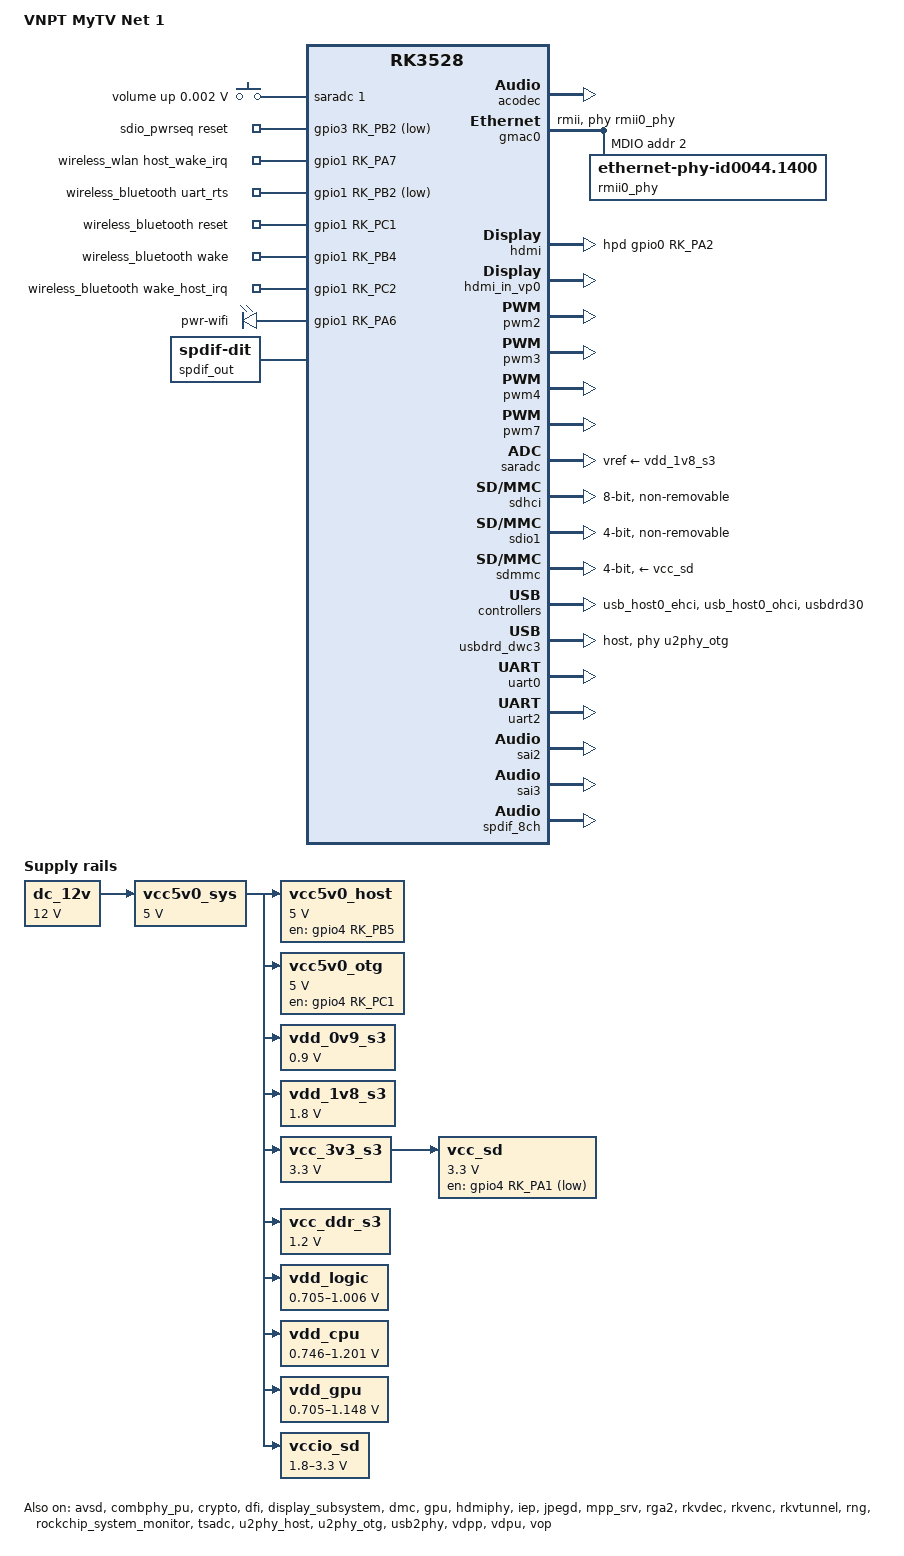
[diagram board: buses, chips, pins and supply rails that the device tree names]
// SPDX-License-Identifier: (GPL-2.0+ OR MIT)
/*
 * Copyright (c) 2026 Rockchip Electronics Co., Ltd.
 * Device Tree Source for VNPT MyTV Net 1 TV Box
 *
 * SoC:     Rockchip RK3528
 * RAM:     4GB
 */

/dts-v1/;

#include <dt-bindings/gpio/gpio.h>
#include <dt-bindings/input/rk-input.h>
#include <dt-bindings/interrupt-controller/irq.h>
#include <dt-bindings/pinctrl/rockchip.h>
#include <dt-bindings/phy/phy.h>
#include <dt-bindings/soc/rockchip,boot-mode.h>
#include <dt-bindings/soc/rockchip-system-status.h>
#include <dt-bindings/suspend/rockchip-rk3528.h>
#include <dt-bindings/thermal/thermal.h>
#include "rk3528.dtsi"

/ {
	model = "VNPT MyTV Net 1";
	compatible = "vnpt,mytv-net1", "rockchip,rk3528";

	aliases {
		ethernet0 = &gmac0;
		mmc0 = &sdmmc;
		mmc1 = &sdhci;
		mmc2 = &sdio1;
	};

	chosen: chosen {
		bootargs = "earlycon=uart8250,mmio32,0xff9f0000 console=ttyS0,1500000";
	};

	fiq_debugger: fiq-debugger {
		compatible = "rockchip,fiq-debugger";
		rockchip,serial-id = <0>;
		rockchip,wake-irq = <0>;
		rockchip,irq-mode-enable = <1>;
		rockchip,baudrate = <1500000>;
		interrupts = <GIC_SPI 186 IRQ_TYPE_LEVEL_HIGH>;
		pinctrl-names = "default";
		pinctrl-0 = <&uart0m0_xfer>;
		status = "disabled";
	};

	adc_keys: adc-keys {
		compatible = "adc-keys";
		io-channels = <&saradc 1>;
		io-channel-names = "buttons";
		keyup-threshold-microvolt = <1800000>;
		poll-interval = <100>;
		status = "okay";

		vol-up-key {
			label = "volume up";
			linux,code = <KEY_VOLUMEUP>;
			press-threshold-microvolt = <1750>;
		};
	};

	dc_12v: dc-12v {
		compatible = "regulator-fixed";
		regulator-name = "dc_12v";
		regulator-always-on;
		regulator-boot-on;
		regulator-min-microvolt = <12000000>;
		regulator-max-microvolt = <12000000>;
	};

	vcc5v0_sys: vcc5v0-sys {
		compatible = "regulator-fixed";
		regulator-name = "vcc5v0_sys";
		regulator-always-on;
		regulator-boot-on;
		regulator-min-microvolt = <5000000>;
		regulator-max-microvolt = <5000000>;
		vin-supply = <&dc_12v>;
	};

	vcc5v0_host: vcc5v0-host-regulator {
		compatible = "regulator-fixed";
		regulator-name = "vcc5v0_host";
		regulator-boot-on;
		regulator-always-on;
		regulator-min-microvolt = <5000000>;
		regulator-max-microvolt = <5000000>;
		enable-active-high;
		gpio = <&gpio4 RK_PB5 GPIO_ACTIVE_HIGH>;
		vin-supply = <&vcc5v0_sys>;
		pinctrl-names = "default";
		pinctrl-0 = <&vcc5v0_host_en>;
	};

	vcc5v0_otg: vcc5v0-otg-regulator {
		compatible = "regulator-fixed";
		regulator-name = "vcc5v0_otg";
		regulator-boot-on;
		regulator-always-on;
		regulator-min-microvolt = <5000000>;
		regulator-max-microvolt = <5000000>;
		enable-active-high;
		gpio = <&gpio4 RK_PC1 GPIO_ACTIVE_HIGH>;
		vin-supply = <&vcc5v0_sys>;
		pinctrl-names = "default";
		pinctrl-0 = <&vcc5v0_otg_en>;
	};

	vdd_0v9_s3: vdd-0v9-s3 {
		compatible = "regulator-fixed";
		regulator-name = "vdd_0v9_s3";
		regulator-always-on;
		regulator-boot-on;
		regulator-min-microvolt = <900000>;
		regulator-max-microvolt = <900000>;
		vin-supply = <&vcc5v0_sys>;
	};

	vdd_1v8_s3: vdd-1v8-s3 {
		compatible = "regulator-fixed";
		regulator-name = "vdd_1v8_s3";
		regulator-always-on;
		regulator-boot-on;
		regulator-min-microvolt = <1800000>;
		regulator-max-microvolt = <1800000>;
		vin-supply = <&vcc5v0_sys>;
	};

	vcc_3v3_s3: vcc-3v3-s3 {
		compatible = "regulator-fixed";
		regulator-name = "vcc_3v3_s3";
		regulator-always-on;
		regulator-boot-on;
		regulator-min-microvolt = <3300000>;
		regulator-max-microvolt = <3300000>;
		vin-supply = <&vcc5v0_sys>;
	};

	vcc_ddr_s3: vcc-ddr-s3 {
		compatible = "regulator-fixed";
		regulator-name = "vcc_ddr_s3";
		regulator-always-on;
		regulator-boot-on;
		regulator-min-microvolt = <1200000>;
		regulator-max-microvolt = <1200000>;
		vin-supply = <&vcc5v0_sys>;
	};

	vdd_logic: vdd-logic {
		compatible = "pwm-regulator";
		pwms = <&pwm2 0 5000 1>;
		regulator-name = "vdd_logic";
		regulator-min-microvolt = <705000>;
		regulator-max-microvolt = <1006000>;
		regulator-init-microvolt = <900000>;
		regulator-always-on;
		regulator-boot-on;
		regulator-settling-time-up-us = <250>;
		pwm-supply = <&vcc5v0_sys>;
		status = "okay";
	};

	vdd_cpu: vdd-cpu {
		compatible = "pwm-regulator";
		pwms = <&pwm7 0 5000 1>;
		regulator-name = "vdd_cpu";
		regulator-min-microvolt = <746000>;
		regulator-max-microvolt = <1201000>;
		regulator-init-microvolt = <953000>;
		regulator-always-on;
		regulator-boot-on;
		regulator-settling-time-up-us = <250>;
		pwm-supply = <&vcc5v0_sys>;
		status = "okay";
	};

	vdd_gpu: vdd-gpu {
		compatible = "pwm-regulator";
		pwms = <&pwm4 0 5000 1>;
		regulator-name = "vdd_gpu";
		regulator-min-microvolt = <705000>;
		regulator-max-microvolt = <1148000>;
		regulator-init-microvolt = <900000>;
		regulator-always-on;
		regulator-boot-on;
		regulator-settling-time-up-us = <250>;
		pwm-supply = <&vcc5v0_sys>;
		status = "okay";
	};

	vccio_sd: vccio-sd {
		compatible = "regulator-gpio";
		regulator-name = "vccio_sd";
		regulator-min-microvolt = <1800000>;
		regulator-max-microvolt = <3300000>;
		gpios = <&gpio4 RK_PB6 GPIO_ACTIVE_HIGH>;
		vin-supply = <&vcc5v0_sys>;
		states = <1800000 0x0
			  3300000 0x1>;
	};

	vcc_sd: vcc-sd {
		compatible = "regulator-fixed";
		regulator-name = "vcc_sd";
		regulator-boot-on;
		gpio = <&gpio4 RK_PA1 GPIO_ACTIVE_LOW>;
		regulator-min-microvolt = <3300000>;
		regulator-max-microvolt = <3300000>;
		vin-supply = <&vcc_3v3_s3>;
	};

	sdio_pwrseq: sdio-pwrseq {
		compatible = "mmc-pwrseq-simple";
		pinctrl-names = "default";
		pinctrl-0 = <&wifi_enable_h &wifi_32k>;
		reset-gpios = <&gpio3 RK_PB2 GPIO_ACTIVE_LOW>;
		post-power-on-delay-ms = <100>;
	};

	wireless_wlan: wireless-wlan {
		compatible = "wlan-platdata";
		rockchip,grf = <&grf>;
		wifi_chip_type = "ap6275s";
		pinctrl-names = "default";
		pinctrl-0 = <&wifi_host_wake_irq>;
		WIFI,host_wake_irq = <&gpio1 RK_PA7 GPIO_ACTIVE_HIGH>;
		status = "okay";
	};

	wireless_bluetooth: wireless-bluetooth {
		compatible = "bluetooth-platdata";
		uart_rts_gpios = <&gpio1 RK_PB2 GPIO_ACTIVE_LOW>;
		pinctrl-names = "default", "rts_gpio";
		pinctrl-0 = <&uart2m1_rtsn>;
		pinctrl-1 = <&uart2m1_gpios>;
		BT,reset_gpio = <&gpio1 RK_PC1 GPIO_ACTIVE_HIGH>;
		BT,wake_gpio = <&gpio1 RK_PB4 GPIO_ACTIVE_HIGH>;
		BT,wake_host_irq = <&gpio1 RK_PC2 GPIO_ACTIVE_HIGH>;
		status = "okay";
	};

	gpio_leds: gpio-leds {
		compatible = "gpio-leds";

		pwr-wifi {
			gpios = <&gpio1 RK_PA6 GPIO_ACTIVE_HIGH>;
			linux,default-trigger = "none";
			default-state = "on";
		};
	};

	hdmi_sound: hdmi-sound {
		compatible = "rockchip,hdmi";
		rockchip,mclk-fs = <128>;
		rockchip,card-name = "rockchip,hdmi";
		rockchip,cpu = <&sai3>;
		rockchip,codec = <&hdmi>;
		rockchip,jack-det;
		status = "okay";
	};

	acodec_sound: acodec-sound {
		status = "okay";
		compatible = "simple-audio-card";
		simple-audio-card,name = "rk3528-acodec";
		simple-audio-card,format = "i2s";
		simple-audio-card,mclk-fs = <256>;

		simple-audio-card,cpu {
			sound-dai = <&sai2>;
		};

		simple-audio-card,codec {
			sound-dai = <&acodec>;
		};
	};

	spdif_sound: spdif-sound {
		status = "okay";
		compatible = "simple-audio-card";
		simple-audio-card,name = "ROCKCHIP,SPDIF";
		simple-audio-card,mclk-fs = <128>;

		simple-audio-card,cpu {
			sound-dai = <&spdif_8ch>;
		};

		simple-audio-card,codec {
			sound-dai = <&spdif_out>;
		};
	};

	spdif_out: spdif-out {
		status = "okay";
		compatible = "linux,spdif-dit";
		#sound-dai-cells = <0>;
	};

	reserved_memory: reserved-memory {
		#address-cells = <2>;
		#size-cells = <2>;
		ranges;

		drm_logo: drm-logo@0 {
			compatible = "rockchip,drm-logo";
			reg = <0x0 0x0 0x0 0x0>;
		};

		drm_cubic_lut: drm-cubic-lut@0 {
			compatible = "rockchip,drm-cubic-lut";
			reg = <0x0 0x0 0x0 0x0>;
		};

		ramoops: ramoops@110000 {
			compatible = "ramoops";
			reg = <0x0 0x110000 0x0 0xe0000>;
			boot-log-size = <0x8000>;
			boot-log-count = <1>;
			console-size = <0x80000>;
			pmsg-size = <0x30000>;
			ftrace-size = <0x0>;
			record-size = <0x14000>;
		};
	};
};

&acodec {
	status = "okay";
	pa-ctl-gpios = <&gpio0 RK_PA0 GPIO_ACTIVE_HIGH>;
};

&avsd {
	status = "okay";
};

&combphy_pu {
	status = "okay";
};

&cpu0 {
	cpu-supply = <&vdd_cpu>;
};

&crypto {
	status = "okay";
};

&dfi {
	status = "okay";
};

&display_subsystem {
	status = "okay";
	memory-region = <&drm_logo>, <&drm_cubic_lut>;
	memory-region-names = "drm-logo", "drm-cubic-lut";

	route {
		route_hdmi: route-hdmi {
			status = "okay";
			logo,uboot = "logo.bmp";
			logo,kernel = "logo_kernel.bmp";
			logo,mode = "center";
			charge_logo,mode = "center";
			connect = <&vp0_out_hdmi>;
		};

		route_tve: route-tve {
			status = "okay";
			logo,uboot = "logo.bmp";
			logo,kernel = "logo_kernel.bmp";
			logo,mode = "center";
			charge_logo,mode = "center";
			connect = <&vp1_out_tve>;
		};
	};
};

&dmc {
	center-supply = <&vdd_logic>;
	status = "okay";
};

&gmac0 {
	phy-mode = "rmii";
	clock_in_out = "input";
	phy-handle = <&rmii0_phy>;
	status = "okay";

	mdio {
		compatible = "snps,dwmac-mdio";
		#address-cells = <1>;
		#size-cells = <0>;

		rmii0_phy: ethernet-phy@2 {
			compatible = "ethernet-phy-id0044.1400", "ethernet-phy-ieee802.3-c22";
			reg = <2>;
			phy-is-integrated;
		};
	};
};

&gmac1 {
	status = "disabled";
};

&gpu {
	mali-supply = <&vdd_gpu>;
	status = "okay";
};

&hdmi {
	status = "okay";
	hpd-gpios = <&gpio0 RK_PA2 GPIO_ACTIVE_HIGH>;
};

&hdmi_in_vp0 {
	status = "okay";
};

&hdmiphy {
	status = "okay";
};

&iep {
	status = "okay";
};

&iep_mmu {
	status = "okay";
};

&jpegd {
	status = "okay";
};

&jpegd_mmu {
	status = "okay";
};

&mpp_srv {
	status = "okay";
};

&pwm1 {
	status = "disabled";
};

&pwm2 {
	status = "okay";
	pinctrl-names = "active";
	pinctrl-0 = <&pwm2m0_pins>;
};

&pwm3 {
	compatible = "rockchip,remotectl-pwm";
	status = "okay";
	pinctrl-names = "default";
	pinctrl-0 = <&pwm3m0_pins>;
	remote_pwm_id = <3>;
	handle_cpu_id = <1>;
	remote_support_psci = <0>;
};

&pwm4 {
	status = "okay";
	pinctrl-names = "active";
	pinctrl-0 = <&pwm4m0_pins>;
};

&pwm7 {
	status = "okay";
	pinctrl-names = "active";
	pinctrl-0 = <&pwm7m0_pins>;
};

&rga2 {
	status = "okay";
};

&rga2_mmu {
	status = "okay";
};

&rkvdec {
	status = "okay";
};

&rkvdec_mmu {
	status = "okay";
};

&rkvenc {
	status = "okay";
};

&rkvenc_mmu {
	status = "okay";
};

&rkvtunnel {
	status = "okay";
};

&rng {
	status = "okay";
};

&rockchip_suspend {
	status = "okay";
	rockchip,sleep-debug-en = <1>;
	rockchip,virtual-poweroff = <1>;
	rockchip,sleep-mode-config = <
		(0
		| RKPM_SLP_ARMPD
		)
	>;
	rockchip,wakeup-config = <
		(0
		| RKPM_CPU0_WKUP_EN
		| RKPM_GPIO_WKUP_EN
		)
	>;
	rockchip,pwm-regulator-config = <
		(0
		| RKPM_PWM1_M0_REGULATOR_EN
		)
	>;
};

&rockchip_system_monitor {
	status = "okay";
	rockchip,thermal-zone = "soc-thermal";
};

&saradc {
	status = "okay";
	vref-supply = <&vdd_1v8_s3>;
};

&sdhci {
	bus-width = <8>;
	no-sd;
	no-sdio;
	non-removable;
	mmc-hs400-1_8v;
	mmc-hs400-enhanced-strobe;
	max-frequency = <200000000>;
	status = "okay";
	fixed-emmc-driver-type = <4>;
};

&sdio0 {
	status = "disabled";
};

&sdio1 {
	max-frequency = <200000000>;
	bus-width = <4>;
	cap-sd-highspeed;
	cap-sdio-irq;
	disable-wp;
	keep-power-in-suspend;
	mmc-pwrseq = <&sdio_pwrseq>;
	no-mmc;
	no-sd;
	non-removable;
	pinctrl-names = "default";
	pinctrl-0 = <&sdio1_bus4 &sdio1_clk &sdio1_cmd>;
	sd-uhs-sdr104;
	supports-sdio;
	status = "okay";
};

&sdmmc {
	bus-width = <4>;
	cap-mmc-highspeed;
	cap-sd-highspeed;
	disable-wp;
	max-frequency = <150000000>;
	pinctrl-names = "default";
	pinctrl-0 = <&sdmmc_clk &sdmmc_cmd &sdmmc_det &sdmmc_bus4>;
	rockchip,default-sample-phase = <90>;
	supports-sd;
	sd-uhs-sdr12;
	sd-uhs-sdr25;
	sd-uhs-sdr50;
	sd-uhs-sdr104;
	vqmmc-supply = <&vccio_sd>;
	vmmc-supply = <&vcc_sd>;
	status = "okay";
};

&tsadc {
	status = "okay";
};

&u2phy_host {
	phy-supply = <&vcc5v0_host>;
	status = "okay";
};

&u2phy_otg {
	phy-supply = <&vcc5v0_otg>;
	status = "okay";
};

&usb2phy {
	status = "okay";
};

&usb_host0_ehci {
	status = "okay";
};

&usb_host0_ohci {
	status = "okay";
};

&usbdrd30 {
	status = "okay";
};

&usbdrd_dwc3 {
	status = "okay";
	dr_mode = "host";
	phys = <&u2phy_otg>, <&combphy_pu PHY_TYPE_USB3>;
	phy-names = "usb2-phy", "usb3-phy";
	phy_type = "utmi_wide";
	snps,dis_enblslpm_quirk;
	snps,dis-u1u2-quirk;
	snps,dis-u3-susphy-quirk;
	snps,dis-u2-freeclk-exists-quirk;
	snps,dis-del-phy-power-chg-quirk;
	snps,dis-tx-ipgap-linecheck-quirk;
	snps,xhci-trb-ent-quirk;
	snps,dis_u2_susphy_quirk;
	snps,usb2-lpm-disable;
	maximum-speed = "super-speed";
};

&uart0 {
	status = "okay";
	pinctrl-names = "default";
	pinctrl-0 = <&uart0m0_xfer>;
};

&uart2 {
	status = "okay";
	pinctrl-names = "default";
	pinctrl-0 = <&uart2m1_xfer &uart2m1_ctsn>;
};

&vdpp {
	status = "okay";
};

&vdpu {
	status = "okay";
};

&vdpu_mmu {
	status = "okay";
};

&vop {
	status = "okay";
};

&vop_mmu {
	status = "okay";
};

&sai2 {
	status = "okay";
};

&sai3 {
	status = "okay";
};

&spdif_8ch {
	status = "okay";
	pinctrl-names = "default";
	pinctrl-0 = <&spdifm0_pins>;
};

&pinctrl {
	usb {
		vcc5v0_host_en: vcc5v0-host-en {
			rockchip,pins = <4 RK_PB5 RK_FUNC_GPIO &pcfg_pull_none>;
		};

		vcc5v0_otg_en: vcc5v0-otg-en {
			rockchip,pins = <4 RK_PC1 RK_FUNC_GPIO &pcfg_pull_none>;
		};
	};

	sdio-pwrseq {
		wifi_enable_h: wifi-enable-h {
			rockchip,pins = <3 RK_PB2 RK_FUNC_GPIO &pcfg_pull_none>;
		};

		wifi_32k: wifi-32k {
			rockchip,pins = <3 RK_PC3 3 &pcfg_pull_none>;
		};
	};

	wireless-wlan {
		wifi_host_wake_irq: wifi-host-wake-irq {
			rockchip,pins = <1 RK_PA7 RK_FUNC_GPIO &pcfg_pull_down>;
		};
	};

	wireless-bluetooth {
		uart2m1_gpios: uart2m1-gpios {
			rockchip,pins = <1 RK_PB2 RK_FUNC_GPIO &pcfg_pull_none>;
		};
	};
};
